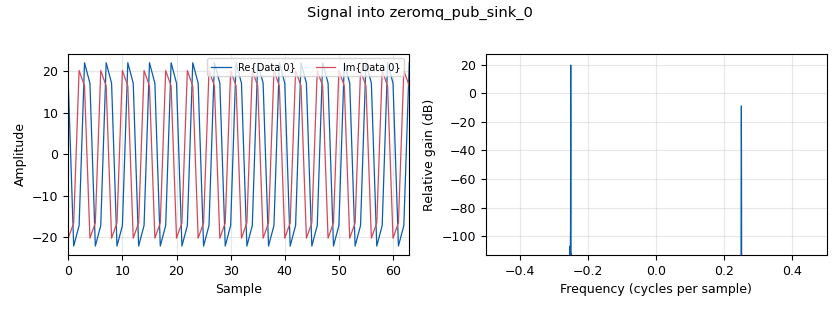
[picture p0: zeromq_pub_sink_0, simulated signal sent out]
<?xml version='1.0' encoding='utf-8'?>
<?grc format='1' created='3.7.13'?>
<flow_graph>
<block>
<key>options</key>
<param><key>id</key><value>demo</value></param>
<param><key>generate_options</key><value>no_gui</value></param>
<param><key>run_options</key><value>run</value></param>
</block>
<block>
<key>variable</key>
<param><key>id</key><value>frequency_0</value></param>
<param><key>value</key><value>3e6</value></param>
</block>
<block>
<key>variable</key>
<param><key>id</key><value>frequency_1</value></param>
<param><key>value</key><value>5e6</value></param>
</block>
<block>
<key>variable</key>
<param><key>id</key><value>sample_rate</value></param>
<param><key>value</key><value>32000</value></param>
</block>
<block>
<key>variable</key>
<param><key>id</key><value>zmq_address</value></param>
<param><key>value</key><value>"tcp://127.0.0.1:5557"</value></param>
</block>
<block>
<key>analog_sig_source_x</key>
<param><key>id</key><value>analog_sig_source_x_0</value></param>
<param><key>amp</key><value>27</value></param>
<param><key>freq</key><value>frequency_0</value></param>
<param><key>offset</key><value>0</value></param>
<param><key>type</key><value>complex</value></param>
<param><key>samp_rate</key><value>sample_rate</value></param>
<param><key>waveform</key><value>analog.GR_COS_WAVE</value></param>
</block>
<block>
<key>analog_sig_source_x</key>
<param><key>id</key><value>analog_sig_source_x_1</value></param>
<param><key>amp</key><value>1</value></param>
<param><key>freq</key><value>frequency_1</value></param>
<param><key>offset</key><value>0</value></param>
<param><key>type</key><value>complex</value></param>
<param><key>samp_rate</key><value>sample_rate</value></param>
<param><key>waveform</key><value>analog.GR_COS_WAVE</value></param>
</block>
<block>
<key>blocks_add_xx</key>
<param><key>id</key><value>blocks_add_xx_0</value></param>
<param><key>type</key><value>complex</value></param>
</block>
<block>
<key>blocks_throttle</key>
<param><key>id</key><value>blocks_throttle_0</value></param>
<param><key>samples_per_second</key><value>sample_rate</value></param>
<param><key>type</key><value>complex</value></param>
</block>
<block>
<key>zeromq_pub_sink</key>
<param><key>id</key><value>zeromq_pub_sink_0</value></param>
<param><key>address</key><value>zmq_address</value></param>
<param><key>type</key><value>complex</value></param>
<param><key>timeout</key><value>1</value></param>
</block>
<connection><source_block_id>analog_sig_source_x_0</source_block_id><sink_block_id>blocks_add_xx_0</sink_block_id><source_key>0</source_key><sink_key>0</sink_key></connection>
<connection><source_block_id>analog_sig_source_x_1</source_block_id><sink_block_id>blocks_add_xx_0</sink_block_id><source_key>0</source_key><sink_key>1</sink_key></connection>
<connection><source_block_id>blocks_add_xx_0</source_block_id><sink_block_id>blocks_throttle_0</sink_block_id><source_key>0</source_key><sink_key>0</sink_key></connection>
<connection><source_block_id>blocks_throttle_0</source_block_id><sink_block_id>zeromq_pub_sink_0</sink_block_id><source_key>0</source_key><sink_key>0</sink_key></connection>
</flow_graph>
